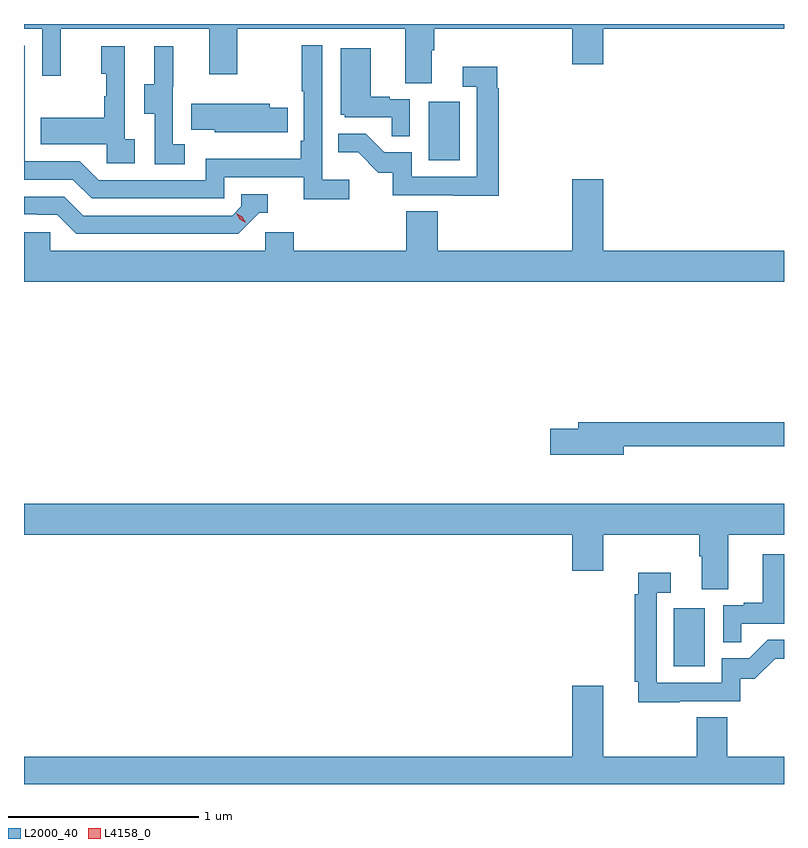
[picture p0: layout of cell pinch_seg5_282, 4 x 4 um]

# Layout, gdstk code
import gdstk
lib = gdstk.Library(unit=1e-6, precision=1e-09)
def R(c, l, rs):  # rectangles x0, y0, x1, y1
    for r in rs: c.add(gdstk.rectangle(r[:2], r[2:], *l))
def P(c, l, *ps):  # polygons
    for p in ps: c.add(gdstk.Polygon(p, *l))
L2000_40 = (2000, 40)
L4158_0 = (4158, 0)

pinch_seg5_282 = lib.new_cell('pinch_seg5_282')
R(pinch_seg5_282, L2000_40, [(908.798,893.364,908.962,893.671), (907.508,896.028,907.672,896.335)])
P(pinch_seg5_282, L2000_40, [(907.525,896.608),(907.538,896.608),(907.538,896.72),(908.264,896.72),(908.264,896.532),(908.428,896.532),(908.428,896.72),(909.379,896.72),(909.379,896.745),(905.379,896.745),(905.379,896.72),(905.475,896.72),(905.475,896.472),(905.573,896.472),(905.573,896.72),(906.353,896.72),(906.353,896.481),(906.501,896.481),(906.501,896.72),(907.385,896.72),(907.385,896.434),(907.525,896.434)],
  [(907.09,895.924),(906.948,895.924),(906.948,896.632),(906.84,896.632),(906.84,896.392),(906.852,896.392),(906.852,896.131),(906.835,896.131),(906.835,896.035),(906.336,896.035),(906.336,895.923),(905.772,895.923),(905.673,896.022),(905.382,896.022),(905.382,896.631),(905.379,896.631),(905.379,895.926),(905.636,895.926),(905.735,895.827),(906.432,895.827),(906.432,895.938),(906.851,895.938),(906.851,895.822),(907.09,895.822)],
  [(906.226,896.111),(906.162,896.111),(906.162,896.415),(906.164,896.415),(906.164,896.629),(906.065,896.629),(906.065,896.427),(906.011,896.427),(906.011,896.272),(906.066,896.272),(906.066,896.008),(906.226,896.008)],
  [(905.962,896.138),(905.91,896.138),(905.91,896.629),(905.786,896.629),(905.786,896.484),(905.812,896.484),(905.812,896.366),(905.802,896.366),(905.802,896.251),(905.467,896.251),(905.467,896.111),(905.814,896.111),(905.814,896.013),(905.962,896.013)],
  [(907.41,896.349),(907.304,896.349),(907.304,896.362),(907.204,896.362),(907.204,896.617),(907.046,896.617),(907.046,896.268),(907.068,896.268),(907.068,896.253),(907.315,896.253),(907.315,896.155),(907.41,896.155)],
  [(907.877,896.408),(907.87,896.408),(907.87,896.521),(907.689,896.521),(907.689,896.415),(907.761,896.415),(907.761,895.941),(907.419,895.941),(907.419,896.07),(907.275,896.07),(907.177,896.168),(907.033,896.168),(907.033,896.069),(907.137,896.069),(907.244,895.962),(907.321,895.962),(907.321,895.845),(907.639,895.845),(907.639,895.84),(907.877,895.84)],
  [(906.656,896.175),(906.767,896.175),(906.767,896.304),(906.673,896.304),(906.673,896.326),(906.259,896.326),(906.259,896.189),(906.384,896.189),(906.384,896.174),(906.656,896.174)],
  [(909.379,895.552),(908.428,895.552),(908.428,895.927),(908.264,895.927),(908.264,895.552),(907.556,895.552),(907.556,895.76),(907.391,895.76),(907.391,895.552),(906.8,895.552),(906.8,895.65),(906.648,895.65),(906.648,895.552),(905.517,895.552),(905.517,895.65),(905.379,895.65),(905.379,895.388),(909.379,895.388)],
  [(906.618,895.752),(906.661,895.752),(906.661,895.848),(906.522,895.848),(906.522,895.785),(906.474,895.737),(905.691,895.737),(905.592,895.836),(905.379,895.836),(905.379,895.743),(905.448,895.743),(905.448,895.74),(905.555,895.74),(905.654,895.641),(906.507,895.641)],
  [(908.536,894.522),(909.379,894.522),(909.379,894.65),(908.297,894.65),(908.297,894.614),(908.148,894.614),(908.148,894.479),(908.536,894.479)],
  [(909.085,894.056),(909.379,894.056),(909.379,894.22),(905.379,894.22),(905.379,894.056),(908.264,894.056),(908.264,893.868),(908.428,893.868),(908.428,894.056),(908.933,894.056),(908.933,893.944),(908.945,893.944),(908.945,893.77),(909.085,893.77)],
  [(909.155,893.589),(909.379,893.589),(909.379,893.953),(909.266,893.953),(909.266,893.698),(909.167,893.698),(909.167,893.685),(909.06,893.685),(909.06,893.491),(909.155,893.491)],
  [(908.831,893.181),(909.15,893.181),(909.15,893.298),(909.226,893.298),(909.333,893.405),(909.379,893.405),(909.379,893.504),(909.293,893.504),(909.195,893.406),(909.051,893.406),(909.051,893.277),(908.709,893.277),(908.709,893.751),(908.782,893.751),(908.782,893.857),(908.612,893.857),(908.612,893.744),(908.593,893.744),(908.593,893.284),(908.612,893.284),(908.612,893.176),(908.831,893.176)],
  [(909.379,892.888),(909.08,892.888),(909.08,893.096),(908.92,893.096),(908.92,892.888),(908.428,892.888),(908.428,893.263),(908.264,893.263),(908.264,892.888),(905.379,892.888),(905.379,892.745),(909.379,892.745)])
P(pinch_seg5_282, L4158_0, [(906.545,895.699),(906.514,895.718),(906.497,895.75),(906.497,895.75),(906.497,895.75),(906.528,895.731),(906.545,895.699),(906.545,895.699)])

lib.write_gds('pinch_seg5_282.gds')
